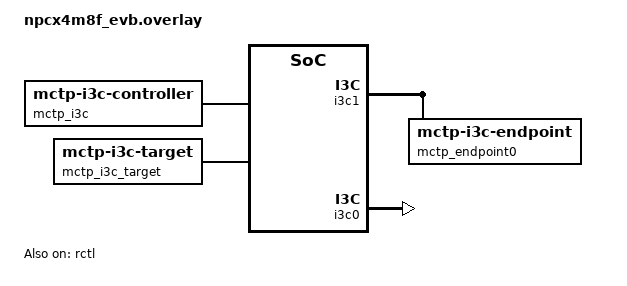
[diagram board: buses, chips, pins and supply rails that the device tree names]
/*
 * Copyright (c) 2026 Intel Corporation
 *
 * SPDX-License-Identifier: Apache-2.0
 */
&rctl {
	status = "okay";
};

/* Connect both I3C:
 *  - I3C1_SCL to I3C2_SCL
 *  - I3C1_SDA to I3C2_SDA
 * Note that there are different form factors of the board, so the actual pin
 * numbers may vary. Check the relevant schematics for details.
 */
&i3c1 {
	zephyr,deferred-init;
	status = "okay";
	i3c-scl-hz = <7500000>;
	i3c-od-scl-hz = <1500000>;

	bcr = <0x46>;

	mctp_endpoint0: mctp_endpoint0@20a00000011 {
		zephyr,deferred-init;
		compatible = "zephyr,mctp-i3c-endpoint";
		reg = <0x0000 0x020a 0x00000011>;
		status = "okay";
	};
};

&i3c0 {
	status = "okay";
	i3c-scl-hz = <7500000>;
	i3c-od-scl-hz = <1500000>;

	bcr = <0x06>;
	tgt-pid = <0x0000020a 0x00000011>;
};

&pcc {
	clock-frequency = <DT_FREQ_M(90)>; /* OFMCLK runs at 90MHz */
	core-prescaler = <3>; /* CORE_CLK runs at 30MHz */
	apb1-prescaler = <6>; /* APB1_CLK runs at 15MHz */
	apb2-prescaler = <6>; /* APB2_CLK runs at 15MHz */
	apb3-prescaler = <6>; /* APB3_CLK runs at 15MHz */
	apb4-prescaler = <3>; /* APB4_CLK runs at 30MHz */
};

/ {
	mctp_i3c: mctp_i3c {
		compatible = "zephyr,mctp-i3c-controller";
		endpoints = <&mctp_endpoint0>;
		endpoint-ids = <11>;
	};

	mctp_i3c_target: mctp_i3c_target {
		compatible = "zephyr,mctp-i3c-target";
		i3c = <&i3c0>;
		endpoint-id = <11>;
	};
};

i3c_controller: &i3c1 {};
